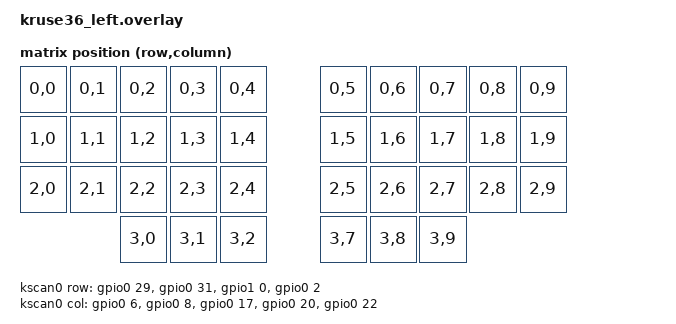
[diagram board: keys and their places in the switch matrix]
/ {
    chosen {
        zmk,kscan = &kscan0;
    };

    default_transform: keymap_transform_0 {
        compatible = "zmk,matrix-transform";
        columns = <10>;
        rows = <4>;
        map = 
            RC(0,0) RC(0,1) RC(0,2) RC(0,3) RC(0,4)    RC(0,5) RC(0,6) RC(0,7) RC(0,8) RC(0,9)
            RC(1,0) RC(1,1) RC(1,2) RC(1,3) RC(1,4)    RC(1,5) RC(1,6) RC(1,7) RC(1,8) RC(1,9)
            RC(2,0) RC(2,1) RC(2,2) RC(2,3) RC(2,4)    RC(2,5) RC(2,6) RC(2,7) RC(2,8) RC(2,9)
            RC(3,0) RC(3,1) RC(3,2)                                     RC(3,7) RC(3,8) RC(3,9)
        >;
    };

    kscan0: kscan {
        compatible = "zmk,kscan-gpio-matrix";
        status = "okay";
        diode-direction = "col2row";

        row-gpios = <
            &gpio0 29 (GPIO_ACTIVE_HIGH | GPIO_PULL_DOWN) /* Row 0 - Top */
            &gpio0 31 (GPIO_ACTIVE_HIGH | GPIO_PULL_DOWN) /* Row 1 - Home */
            &gpio1 0  (GPIO_ACTIVE_HIGH | GPIO_PULL_DOWN) /* Row 2 - Bottom */
            &gpio0 2  (GPIO_ACTIVE_HIGH | GPIO_PULL_DOWN) /* Row 3 - Thumb */
        >;

        col-gpios = <
            &gpio0 6  GPIO_ACTIVE_HIGH /* Col 0 - Pinky */
            &gpio0 8  GPIO_ACTIVE_HIGH /* Col 1 - Ring */
            &gpio0 17 GPIO_ACTIVE_HIGH /* Col 2 - Middle */
            &gpio0 20 GPIO_ACTIVE_HIGH /* Col 3 - Index */
            &gpio0 22 GPIO_ACTIVE_HIGH /* Col 4 - Inner */
        >;
    };
};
